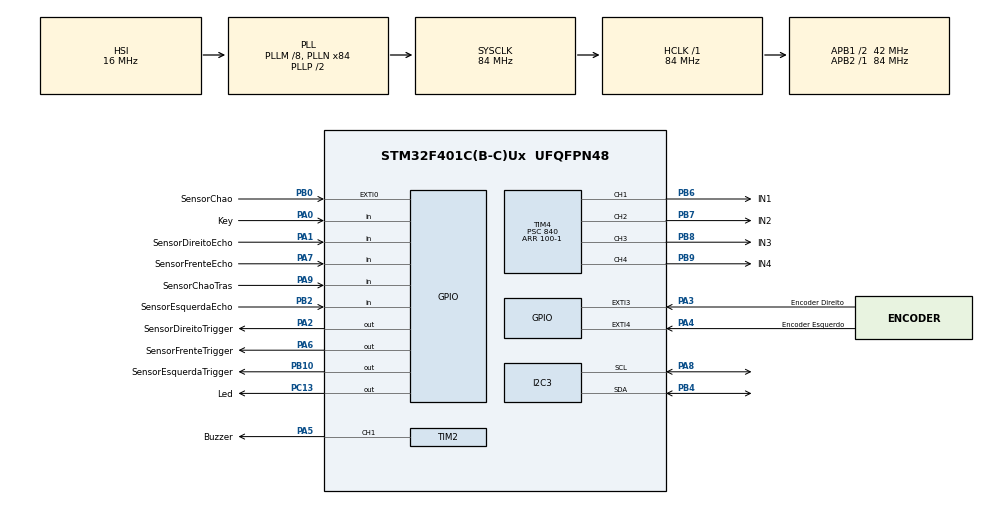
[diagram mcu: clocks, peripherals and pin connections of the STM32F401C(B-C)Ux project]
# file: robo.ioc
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FREERTOS.Tasks01=defaultTask,24,128,StartDefaultTask,Default,NULL,Dynamic,NULL,NULL;RightMotor,24,128,StartRightMotor,Default,NULL,Dynamic,NULL,NULL;LeftMotor,24,128,StartLeftMotor,Default,NULL,Dynamic,NULL,NULL;StateMachine,24,128,StartStateMachine,Default,NULL,Dynamic,NULL,NULL
FREERTOS.configTICK_RATE_HZ=1000
FREERTOS.configUSE_NEWLIB_REENTRANT=1
Mcu.Family=STM32F4
Mcu.Name=STM32F401C(B-C)Ux
Mcu.Package=UFQFPN48
NVIC.EXTI0_IRQn=true\:5\:0\:false\:false\:true\:true\:true\:true\:true
NVIC.EXTI3_IRQn=true\:5\:0\:false\:false\:true\:true\:true\:true\:true
NVIC.EXTI4_IRQn=true\:5\:0\:false\:false\:true\:true\:true\:true\:true
NVIC.PriorityGroup=NVIC_PRIORITYGROUP_4
NVIC.TIM1_UP_TIM10_IRQn=true\:5\:0\:false\:false\:true\:false\:false\:true\:true
NVIC.TimeBase=TIM1_UP_TIM10_IRQn
NVIC.TimeBaseIP=TIM1
PA0-WKUP.GPIO_Label=Key
PA0-WKUP.GPIO_PuPd=GPIO_PULLUP
PA0-WKUP.Signal=GPIO_Input
PA1.GPIO_Label=SensorDireitoEcho
PA1.Signal=GPIO_Input
PA13.Mode=Serial_Wire
PA13.Signal=SYS_JTMS-SWDIO
PA14.Mode=Serial_Wire
PA14.Signal=SYS_JTCK-SWCLK
PA2.GPIO_Label=SensorDireitoTrigger
PA2.Signal=GPIO_Output
PA3.GPIO_Label=Encoder Direito
PA3.Signal=GPXTI3
PA4.GPIO_Label=Encoder Esquerdo
PA4.Signal=GPXTI4
PA5.GPIO_Label=Buzzer
PA5.Signal=S_TIM2_CH1_ETR
PA6.GPIO_Label=SensorFrenteTrigger
PA6.Signal=GPIO_Output
PA7.GPIO_Label=SensorFrenteEcho
PA7.Signal=GPIO_Input
PA8.Mode=I2C
PA8.Signal=I2C3_SCL
PA9.GPIO_Label=SensorChaoTras
PA9.Signal=GPIO_Input
PB0.GPIO_Label=SensorChao
PB0.GPIO_ModeDefaultEXTI=GPIO_MODE_IT_FALLING
PB0.Signal=GPXTI0
PB10.GPIO_Label=SensorEsquerdaTrigger
PB10.Signal=GPIO_Output
PB2.GPIO_Label=SensorEsquerdaEcho
PB2.Signal=GPIO_Input
PB4.Mode=I2C
PB4.Signal=I2C3_SDA
PB6.GPIO_Label=IN1
PB6.Signal=S_TIM4_CH1
PB7.GPIO_Label=IN2
PB7.Signal=S_TIM4_CH2
PB8.GPIO_Label=IN3
PB8.Signal=S_TIM4_CH3
PB9.GPIO_Label=IN4
PB9.Signal=S_TIM4_CH4
PC13-ANTI_TAMP.GPIO_Label=Led
PC13-ANTI_TAMP.Signal=GPIO_Output
ProjectManager.HeapSize=0x200
ProjectManager.StackSize=0x400
ProjectManager.TargetToolchain=STM32CubeIDE
RCC.48MHZClocksFreq_Value=42000000
RCC.AHBFreq_Value=84000000
RCC.APB1CLKDivider=RCC_HCLK_DIV2
RCC.APB1Freq_Value=42000000
RCC.APB1TimFreq_Value=84000000
RCC.APB2Freq_Value=84000000
RCC.APB2TimFreq_Value=84000000
RCC.CortexFreq_Value=84000000
RCC.HCLKFreq_Value=84000000
RCC.HSE_VALUE=25000000
RCC.HSI_VALUE=16000000
RCC.LSE_VALUE=32768
RCC.PLLM=8
RCC.PLLN=84
RCC.SYSCLKFreq_VALUE=84000000
RCC.SYSCLKSource=RCC_SYSCLKSOURCE_PLLCLK
RCC.VCOOutputFreq_Value=168000000
SH.S_TIM2_CH1_ETR.0=TIM2_CH1,PWM Generation1 CH1
SH.S_TIM4_CH1.0=TIM4_CH1,PWM Generation1 CH1
SH.S_TIM4_CH2.0=TIM4_CH2,PWM Generation2 CH2
SH.S_TIM4_CH3.0=TIM4_CH3,PWM Generation3 CH3
SH.S_TIM4_CH4.0=TIM4_CH4,PWM Generation4 CH4
TIM2.AutoReloadPreload=TIM_AUTORELOAD_PRELOAD_ENABLE
TIM2.Channel-PWM\ Generation1\ CH1=TIM_CHANNEL_1
TIM2.ClockDivision=TIM_CLOCKDIVISION_DIV1
TIM2.Period=10
TIM2.Prescaler=8400
TIM2.Pulse-PWM\ Generation1\ CH1=5
TIM3.AutoReloadPreload=TIM_AUTORELOAD_PRELOAD_ENABLE
TIM3.Period=65535
TIM3.Prescaler=84-1
TIM4.AutoReloadPreload=TIM_AUTORELOAD_PRELOAD_ENABLE
TIM4.Channel-PWM\ Generation1\ CH1=TIM_CHANNEL_1
TIM4.Channel-PWM\ Generation2\ CH2=TIM_CHANNEL_2
TIM4.Channel-PWM\ Generation3\ CH3=TIM_CHANNEL_3
TIM4.Channel-PWM\ Generation4\ CH4=TIM_CHANNEL_4
TIM4.Period=100-1
TIM4.Prescaler=840
TIM4.Pulse-PWM\ Generation1\ CH1=50-1
TIM4.Pulse-PWM\ Generation2\ CH2=50-1
TIM4.Pulse-PWM\ Generation3\ CH3=50-1
TIM4.Pulse-PWM\ Generation4\ CH4=50-1
VP_FREERTOS_VS_CMSIS_V2.Mode=CMSIS_V2
VP_SYS_VS_tim1.Mode=TIM1
VP_TIM3_VS_ClockSourceINT.Mode=Internal
board=custom

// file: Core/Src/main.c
/* USER CODE BEGIN Header */
/**
 ******************************************************************************
 * @file           : main.c
 * @brief          : Main program body
 ******************************************************************************
 * @attention
 *
 * Copyright (c) 2023 STMicroelectronics.
 * All rights reserved.
 *
 * This software is licensed under terms that can be found in the LICENSE file
 * in the root directory of this software component.
 * If no LICENSE file comes with this software, it is provided AS-IS.
 *
 ******************************************************************************
 */
/* USER CODE END Header */
#include "main.h"
#include "cmsis_os.h"

/* USER CODE BEGIN Includes */

#include <stdbool.h>
#include <stdio.h>
#include "ssd1306.h"
#include <string.h>
/* USER CODE END Includes */

/* USER CODE BEGIN PTD */

typedef enum{

	norte,
	sul,
	leste,
	oeste

} direcoes;

typedef enum{

	AguardaBotao,
	Frente,
	LeSensor,
	ViraDireita,
	ViraEsquerda,
	Achou

} BarataTonta;

typedef enum{

	// falta implementar
	WaitingButton,
	Forward,
	Turn,

} BlindSearch;

typedef struct{

	direcoes Sentido_Atual;
	uint8_t Posicao_Atual[2];
	int Sensor_Frente;
	int Sensor_Esquerda;
	int Sensor_Direita;
	bool Sensor_Chao;

} robo;

/* USER CODE END PTD */

/* USER CODE BEGIN PD */

# define DO 528
# define RE 592
# define MI 665
# define FA 704
# define SOL 790
# define LA 888
# define SI 996

/* USER CODE END PD */

I2C_HandleTypeDef hi2c3;

TIM_HandleTypeDef htim2;
TIM_HandleTypeDef htim3;
TIM_HandleTypeDef htim4;

/* Definitions for defaultTask */
osThreadId_t defaultTaskHandle;
const osThreadAttr_t defaultTask_attributes = {
		.name = "defaultTask",
		.stack_size = 128 * 4,
		.priority = (osPriority_t) osPriorityNormal,
};
/* Definitions for RightMotor */
osThreadId_t RightMotorHandle;
const osThreadAttr_t RightMotor_attributes = {
		.name = "RightMotor",
		.stack_size = 128 * 4,
		.priority = (osPriority_t) osPriorityNormal,
};
/* Definitions for LeftMotor */
osThreadId_t LeftMotorHandle;
const osThreadAttr_t LeftMotor_attributes = {
		.name = "LeftMotor",
		.stack_size = 128 * 4,
		.priority = (osPriority_t) osPriorityNormal,
};
/* Definitions for StateMachine */
osThreadId_t StateMachineHandle;
const osThreadAttr_t StateMachine_attributes = {
		.name = "StateMachine",
		.stack_size = 128 * 4,
		.priority = (osPriority_t) osPriorityNormal,
};
/* USER CODE BEGIN PV */

int VariacaoSensor = 10;
uint16_t MediaSensorD[10];
uint16_t MediaSensorE[10];
uint16_t MediaSensorF[10];

// encoders
int LeftEncoderCount=0;
int RightEncoderCount =0;

long LeftEncoderCountTotal = 0;
long RightEncoderCountTotal = 0;
float k;
float y;

// flags movimentos
bool Flag_RightMotor_Mov_Forward=false;
bool Flag_LeftMotor_Mov_Forward=false;
uint8_t Count_Mov_Forward = 35;

bool Flag_RightMotor_Mov_Backward=false;
bool Flag_LeftMotor_Mov_Backward=false;
uint8_t Count_Mov_Backward = 35;

bool Flag_LeftMotor_Mov_RotateRight=false;
bool Flag_RightMotor_Mov_RotateRight=false;
uint8_t Count_Mov_RotateRight = 52;

bool Flag_LeftMotor_Mov_RotateLeft=false;
bool Flag_RightMotor_Mov_RotateLeft=false;
uint8_t Count_Mov_RotateLeft = 52;

// demais flags
bool Baratinha=true;
bool Flag_EncoderOrDistance = true;
bool achou = false;

// PWM motores
uint8_t MaxPWM_Right = 35;
uint8_t MaxPWM_Left = 32;

//Distancia para tomada de ação
uint16_t MaxDistanciaLeituraSensorSonico = 250; // centimentros
uint16_t DistanciaMinima = 15;

//Sensor anterior
int SensorFrenteAnterior = 0;
int SensorEsquerdaAnterior = 0;
int SensorDireitaAnterior = 0;

// structs e enums
robo Walle = { .Sentido_Atual = norte, .Posicao_Atual = {0,0} };
BarataTonta Barata = AguardaBotao;
BlindSearch BS = WaitingButton;

//timeouts
uint16_t Timeout=1000;
uint16_t ContadorRotateRigt=5;
//uint16_t TimeOutMotorDireito=10000;

//contagem
int ContagemRegressiva = 5;
int ContagemRotate = 0;
bool FlagInicial = true;

/* USER CODE END PV */

void SystemClock_Config(void);
static void MX_GPIO_Init(void);
static void MX_TIM4_Init(void);
static void MX_TIM2_Init(void);
static void MX_TIM3_Init(void);
static void MX_I2C3_Init(void);
void StartDefaultTask(void *argument);
void StartRightMotor(void *argument);
void StartLeftMotor(void *argument);
void StartStateMachine(void *argument);

/* USER CODE BEGIN PFP */

uint16_t Read_Ultrasonic(GPIO_TypeDef* TriggerPort, uint16_t TriggerPin, GPIO_TypeDef* EchoPort, uint16_t EchoPin);

/* USER CODE END PFP */

int main(void)
{

	/* MCU Configuration--------------------------------------------------------*/

	/* Reset of all peripherals, Initializes the Flash interface and the Systick. */
	HAL_Init();

	/* Configure the system clock */
	SystemClock_Config();

	/* Initialize all configured peripherals */
	MX_GPIO_Init();
	MX_TIM4_Init();
	MX_TIM2_Init();
	MX_TIM3_Init();
	MX_I2C3_Init();
	/* USER CODE BEGIN 2 */

	//inicializacao do display
	ssd1306_Init();
	ssd1306_Fill(White);
	ssd1306_UpdateScreen();

	//inicializacao dos sensores
	HAL_TIM_Base_Start(&htim3);
	HAL_GPIO_WritePin(SensorFrenteTrigger_GPIO_Port, SensorFrenteTrigger_Pin , GPIO_PIN_RESET);  // pull the TRIG pin low
	HAL_GPIO_WritePin(SensorEsquerdaTrigger_GPIO_Port, SensorEsquerdaTrigger_Pin , GPIO_PIN_RESET);  // pull the TRIG pin low
	HAL_GPIO_WritePin(SensorDireitoTrigger_GPIO_Port, SensorDireitoTrigger_Pin , GPIO_PIN_RESET);  // pull the TRIG pin low

	/* USER CODE END 2 */

	/* Init scheduler */
	osKernelInitialize();

	/* Create the thread(s) */
	/* creation of defaultTask */
	defaultTaskHandle = osThreadNew(StartDefaultTask, NULL, &defaultTask_attributes);

	/* creation of RightMotor */
	RightMotorHandle = osThreadNew(StartRightMotor, NULL, &RightMotor_attributes);

	/* creation of LeftMotor */
	LeftMotorHandle = osThreadNew(StartLeftMotor, NULL, &LeftMotor_attributes);

	/* creation of StateMachine */
	StateMachineHandle = osThreadNew(StartStateMachine, NULL, &StateMachine_attributes);

	/* Start scheduler */
	osKernelStart();

	/* We should never get here as control is now taken by the scheduler */
	/* Infinite loop */
	/* USER CODE BEGIN WHILE */
	Walle.Sensor_Frente = 0;
	Walle.Sensor_Direita = 0;
	Walle.Sensor_Esquerda = 0;
	while (1)
	{
		/* USER CODE END WHILE */

	}
}

void SystemClock_Config(void)
{
	RCC_OscInitTypeDef RCC_OscInitStruct = {0};
	RCC_ClkInitTypeDef RCC_ClkInitStruct = {0};

	/** Configure the main internal regulator output voltage
	 */
	__HAL_RCC_PWR_CLK_ENABLE();
	__HAL_PWR_VOLTAGESCALING_CONFIG(PWR_REGULATOR_VOLTAGE_SCALE2);

	/** Initializes the RCC Oscillators according to the specified parameters
	 * in the RCC_OscInitTypeDef structure.
	 */
	RCC_OscInitStruct.OscillatorType = RCC_OSCILLATORTYPE_HSI;
	RCC_OscInitStruct.HSIState = RCC_HSI_ON;
	RCC_OscInitStruct.HSICalibrationValue = RCC_HSICALIBRATION_DEFAULT;
	RCC_OscInitStruct.PLL.PLLState = RCC_PLL_ON;
	RCC_OscInitStruct.PLL.PLLSource = RCC_PLLSOURCE_HSI;
	RCC_OscInitStruct.PLL.PLLM = 8;
	RCC_OscInitStruct.PLL.PLLN = 84;
	RCC_OscInitStruct.PLL.PLLP = RCC_PLLP_DIV2;
	RCC_OscInitStruct.PLL.PLLQ = 4;
	if (HAL_RCC_OscConfig(&RCC_OscInitStruct) != HAL_OK)
	{
		Error_Handler();
	}

	/** Initializes the CPU, AHB and APB buses clocks
	 */
	RCC_ClkInitStruct.ClockType = RCC_CLOCKTYPE_HCLK|RCC_CLOCKTYPE_SYSCLK
			|RCC_CLOCKTYPE_PCLK1|RCC_CLOCKTYPE_PCLK2;
	RCC_ClkInitStruct.SYSCLKSource = RCC_SYSCLKSOURCE_PLLCLK;
	RCC_ClkInitStruct.AHBCLKDivider = RCC_SYSCLK_DIV1;
	RCC_ClkInitStruct.APB1CLKDivider = RCC_HCLK_DIV2;
	RCC_ClkInitStruct.APB2CLKDivider = RCC_HCLK_DIV1;

	if (HAL_RCC_ClockConfig(&RCC_ClkInitStruct, FLASH_LATENCY_2) != HAL_OK)
	{
		Error_Handler();
	}
}

static void MX_I2C3_Init(void)
{

	hi2c3.Instance = I2C3;
	hi2c3.Init.ClockSpeed = 100000;
	hi2c3.Init.DutyCycle = I2C_DUTYCYCLE_2;
	hi2c3.Init.OwnAddress1 = 0;
	hi2c3.Init.AddressingMode = I2C_ADDRESSINGMODE_7BIT;
	hi2c3.Init.DualAddressMode = I2C_DUALADDRESS_DISABLE;
	hi2c3.Init.OwnAddress2 = 0;
	hi2c3.Init.GeneralCallMode = I2C_GENERALCALL_DISABLE;
	hi2c3.Init.NoStretchMode = I2C_NOSTRETCH_DISABLE;
	if (HAL_I2C_Init(&hi2c3) != HAL_OK)
	{
		Error_Handler();
	}

}

static void MX_TIM2_Init(void)
{

	TIM_MasterConfigTypeDef sMasterConfig = {0};
	TIM_OC_InitTypeDef sConfigOC = {0};

	htim2.Instance = TIM2;
	htim2.Init.Prescaler = 8400;
	htim2.Init.CounterMode = TIM_COUNTERMODE_UP;
	htim2.Init.Period = 10;
	htim2.Init.ClockDivision = TIM_CLOCKDIVISION_DIV1;
	htim2.Init.AutoReloadPreload = TIM_AUTORELOAD_PRELOAD_ENABLE;
	if (HAL_TIM_PWM_Init(&htim2) != HAL_OK)
	{
		Error_Handler();
	}
	sMasterConfig.MasterOutputTrigger = TIM_TRGO_RESET;
	sMasterConfig.MasterSlaveMode = TIM_MASTERSLAVEMODE_DISABLE;
	if (HAL_TIMEx_MasterConfigSynchronization(&htim2, &sMasterConfig) != HAL_OK)
	{
		Error_Handler();
	}
	sConfigOC.OCMode = TIM_OCMODE_PWM1;
	sConfigOC.Pulse = 5;
	sConfigOC.OCPolarity = TIM_OCPOLARITY_HIGH;
	sConfigOC.OCFastMode = TIM_OCFAST_DISABLE;
	if (HAL_TIM_PWM_ConfigChannel(&htim2, &sConfigOC, TIM_CHANNEL_1) != HAL_OK)
	{
		Error_Handler();
	}
	HAL_TIM_MspPostInit(&htim2);

}

static void MX_TIM3_Init(void)
{

	TIM_ClockConfigTypeDef sClockSourceConfig = {0};
	TIM_MasterConfigTypeDef sMasterConfig = {0};

	htim3.Instance = TIM3;
	htim3.Init.Prescaler = 84-1;
	htim3.Init.CounterMode = TIM_COUNTERMODE_UP;
	htim3.Init.Period = 65535;
	htim3.Init.ClockDivision = TIM_CLOCKDIVISION_DIV1;
	htim3.Init.AutoReloadPreload = TIM_AUTORELOAD_PRELOAD_ENABLE;
	if (HAL_TIM_Base_Init(&htim3) != HAL_OK)
	{
		Error_Handler();
	}
	sClockSourceConfig.ClockSource = TIM_CLOCKSOURCE_INTERNAL;
	if (HAL_TIM_ConfigClockSource(&htim3, &sClockSourceConfig) != HAL_OK)
	{
		Error_Handler();
	}
	sMasterConfig.MasterOutputTrigger = TIM_TRGO_RESET;
	sMasterConfig.MasterSlaveMode = TIM_MASTERSLAVEMODE_DISABLE;
	if (HAL_TIMEx_MasterConfigSynchronization(&htim3, &sMasterConfig) != HAL_OK)
	{
		Error_Handler();
	}

}

static void MX_TIM4_Init(void)
{

	TIM_MasterConfigTypeDef sMasterConfig = {0};
	TIM_OC_InitTypeDef sConfigOC = {0};

	htim4.Instance = TIM4;
	htim4.Init.Prescaler = 840;
	htim4.Init.CounterMode = TIM_COUNTERMODE_UP;
	htim4.Init.Period = 100-1;
	htim4.Init.ClockDivision = TIM_CLOCKDIVISION_DIV1;
	htim4.Init.AutoReloadPreload = TIM_AUTORELOAD_PRELOAD_ENABLE;
	if (HAL_TIM_PWM_Init(&htim4) != HAL_OK)
	{
		Error_Handler();
	}
	sMasterConfig.MasterOutputTrigger = TIM_TRGO_RESET;
	sMasterConfig.MasterSlaveMode = TIM_MASTERSLAVEMODE_DISABLE;
	if (HAL_TIMEx_MasterConfigSynchronization(&htim4, &sMasterConfig) != HAL_OK)
	{
		Error_Handler();
	}
	sConfigOC.OCMode = TIM_OCMODE_PWM1;
	sConfigOC.Pulse = 50-1;
	sConfigOC.OCPolarity = TIM_OCPOLARITY_HIGH;
	sConfigOC.OCFastMode = TIM_OCFAST_DISABLE;
	if (HAL_TIM_PWM_ConfigChannel(&htim4, &sConfigOC, TIM_CHANNEL_1) != HAL_OK)
	{
		Error_Handler();
	}
	if (HAL_TIM_PWM_ConfigChannel(&htim4, &sConfigOC, TIM_CHANNEL_2) != HAL_OK)
	{
		Error_Handler();
	}
	if (HAL_TIM_PWM_ConfigChannel(&htim4, &sConfigOC, TIM_CHANNEL_3) != HAL_OK)
	{
		Error_Handler();
	}
	if (HAL_TIM_PWM_ConfigChannel(&htim4, &sConfigOC, TIM_CHANNEL_4) != HAL_OK)
	{
		Error_Handler();
	}
	HAL_TIM_MspPostInit(&htim4);

}

static void MX_GPIO_Init(void)
{
	GPIO_InitTypeDef GPIO_InitStruct = {0};

	/* GPIO Ports Clock Enable */
	__HAL_RCC_GPIOC_CLK_ENABLE();
	__HAL_RCC_GPIOA_CLK_ENABLE();
	__HAL_RCC_GPIOB_CLK_ENABLE();

	/*Configure GPIO pin Output Level */
	HAL_GPIO_WritePin(Led_GPIO_Port, Led_Pin, GPIO_PIN_RESET);

	/*Configure GPIO pin Output Level */
	HAL_GPIO_WritePin(GPIOA, SensorDireitoTrigger_Pin|SensorFrenteTrigger_Pin, GPIO_PIN_RESET);

	/*Configure GPIO pin Output Level */
	HAL_GPIO_WritePin(SensorEsquerdaTrigger_GPIO_Port, SensorEsquerdaTrigger_Pin, GPIO_PIN_RESET);

	/*Configure GPIO pin : Led_Pin */
	GPIO_InitStruct.Pin = Led_Pin;
	GPIO_InitStruct.Mode = GPIO_MODE_OUTPUT_PP;
	GPIO_InitStruct.Pull = GPIO_NOPULL;
	GPIO_InitStruct.Speed = GPIO_SPEED_FREQ_LOW;
	HAL_GPIO_Init(Led_GPIO_Port, &GPIO_InitStruct);

	/*Configure GPIO pin : Key_Pin */
	GPIO_InitStruct.Pin = Key_Pin;
	GPIO_InitStruct.Mode = GPIO_MODE_INPUT;
	GPIO_InitStruct.Pull = GPIO_PULLUP;
	HAL_GPIO_Init(Key_GPIO_Port, &GPIO_InitStruct);

	/*Configure GPIO pins : SensorDireitoEcho_Pin SensorFrenteEcho_Pin SensorChaoTras_Pin */
	GPIO_InitStruct.Pin = SensorDireitoEcho_Pin|SensorFrenteEcho_Pin|SensorChaoTras_Pin;
	GPIO_InitStruct.Mode = GPIO_MODE_INPUT;
	GPIO_InitStruct.Pull = GPIO_NOPULL;
	HAL_GPIO_Init(GPIOA, &GPIO_InitStruct);

	/*Configure GPIO pins : SensorDireitoTrigger_Pin SensorFrenteTrigger_Pin */
	GPIO_InitStruct.Pin = SensorDireitoTrigger_Pin|SensorFrenteTrigger_Pin;
	GPIO_InitStruct.Mode = GPIO_MODE_OUTPUT_PP;
	GPIO_InitStruct.Pull = GPIO_NOPULL;
	GPIO_InitStruct.Speed = GPIO_SPEED_FREQ_LOW;
	HAL_GPIO_Init(GPIOA, &GPIO_InitStruct);

	/*Configure GPIO pins : Encoder_Direito_Pin Encoder_Esquerdo_Pin */
	GPIO_InitStruct.Pin = Encoder_Direito_Pin|Encoder_Esquerdo_Pin;
	GPIO_InitStruct.Mode = GPIO_MODE_IT_RISING;
	GPIO_InitStruct.Pull = GPIO_NOPULL;
	HAL_GPIO_Init(GPIOA, &GPIO_InitStruct);

	/*Configure GPIO pin : SensorChao_Pin */
	GPIO_InitStruct.Pin = SensorChao_Pin;
	GPIO_InitStruct.Mode = GPIO_MODE_IT_FALLING;
	GPIO_InitStruct.Pull = GPIO_NOPULL;
	HAL_GPIO_Init(SensorChao_GPIO_Port, &GPIO_InitStruct);

	/*Configure GPIO pin : SensorEsquerdaEcho_Pin */
	GPIO_InitStruct.Pin = SensorEsquerdaEcho_Pin;
	GPIO_InitStruct.Mode = GPIO_MODE_INPUT;
	GPIO_InitStruct.Pull = GPIO_NOPULL;
	HAL_GPIO_Init(SensorEsquerdaEcho_GPIO_Port, &GPIO_InitStruct);

	/*Configure GPIO pin : SensorEsquerdaTrigger_Pin */
	GPIO_InitStruct.Pin = SensorEsquerdaTrigger_Pin;
	GPIO_InitStruct.Mode = GPIO_MODE_OUTPUT_PP;
	GPIO_InitStruct.Pull = GPIO_NOPULL;
	GPIO_InitStruct.Speed = GPIO_SPEED_FREQ_LOW;
	HAL_GPIO_Init(SensorEsquerdaTrigger_GPIO_Port, &GPIO_InitStruct);

	/* EXTI interrupt init*/
	HAL_NVIC_SetPriority(EXTI0_IRQn, 5, 0);
	HAL_NVIC_EnableIRQ(EXTI0_IRQn);

	HAL_NVIC_SetPriority(EXTI3_IRQn, 5, 0);
	HAL_NVIC_EnableIRQ(EXTI3_IRQn);

	HAL_NVIC_SetPriority(EXTI4_IRQn, 5, 0);
	HAL_NVIC_EnableIRQ(EXTI4_IRQn);

}

/* USER CODE BEGIN 4 */

// buzzer
void PlayBuzzer(int Freq, int duration){
	/*
	 * 1 contagem no ARR = 10000Hz. 10 contagens = 1000Hz. 100 contagens = 100 Hz....
	 * CCR1 = ARR/2 para ter onda quadrada
	 */
	TIM2->ARR = 10000/Freq;
	TIM2->CCR1 = 5000/Freq;
	HAL_TIM_PWM_Start(&htim2, TIM_CHANNEL_1);

	if(Freq >5000)
		return;

	TIM2->ARR = 10000/Freq;
	TIM2->CCR1 = 5000/Freq;

	osDelay(duration);

	HAL_TIM_PWM_Stop(&htim2, TIM_CHANNEL_1);

}

void Printa1segTela(){
	char text[20] = {};
	ssd1306_SetCursor(56,25);
	sprintf(text,"%d",ContagemRegressiva--);

	if(FlagInicial){
		ssd1306_Fill(White);
		ssd1306_WriteString(text, Font_16x26, Black);
		FlagInicial = false;
	}
	else{
		ssd1306_Fill(Black);
		ssd1306_WriteString(text, Font_16x26, White);
		FlagInicial = true;
	}

	ssd1306_UpdateScreen();

}

void Buzzer5seg(){
	Printa1segTela();
	PlayBuzzer(500, 500);
	osDelay(500);
	Printa1segTela();
	PlayBuzzer(500, 500);
	osDelay(500);
	Printa1segTela();
	PlayBuzzer(500, 500);
	osDelay(500);
	Printa1segTela();
	PlayBuzzer(500, 500);
	osDelay(500);
	Printa1segTela();
	PlayBuzzer(500, 500);
	osDelay(500);
}

void BuzzerTocaMusica(){
	PlayBuzzer(MI, 200);
	osDelay(25);
	PlayBuzzer(MI, 200);
	osDelay(25);
	PlayBuzzer(RE, 1000);
	osDelay(200);
	PlayBuzzer(RE, 200);
	osDelay(25);
	PlayBuzzer(RE, 200);
	osDelay(25);
	PlayBuzzer(DO, 1000);
	osDelay(200);
}
void Buzzer_InitialSong()
{
	Buzzer1seg();
	Buzzer1seg();
	Buzzer1seg();
	Buzzer1seg();
	Buzzer1seg();
}

void Buzzer_FinishSong()
{
	PlayBuzzer(200, 100);
	osDelay(10);
	PlayBuzzer(500, 100);
	osDelay(10);
	PlayBuzzer(1000, 150);
	osDelay(500);
	PlayBuzzer(1000, 1000);
}

// display

void Print_Ajustando(){
	char text[20] = {};

	ssd1306_Fill(Black);

	ssd1306_SetCursor(0,0);
	strcpy(text,"Modo 'Achou'");
	ssd1306_WriteString(text, Font_7x10, White);

	ssd1306_SetCursor(0,20);
	strcpy(text,"Ajustando...");
	ssd1306_WriteString(text, Font_11x18, White);

	ssd1306_UpdateScreen();
}

void Print_Achou(){

	char text[20] = {};
	ssd1306_Fill(Black);

	ssd1306_SetCursor(0,15);
	strcpy(text,"Achou");
	ssd1306_WriteString(text, Font_11x18, White);

	ssd1306_SetCursor(0,30);
	strcpy(text," o ");
	ssd1306_WriteString(text, Font_11x18, White);

	ssd1306_SetCursor(0,45);
	strcpy(text,"objetivo!");
	ssd1306_WriteString(text, Font_11x18, White);

	ssd1306_UpdateScreen();
}

void Print_Direcao(){
	char text[20] = {};

	ssd1306_Fill(Black);

	if(Walle.Sensor_Frente<SensorFrenteAnterior && (SensorFrenteAnterior-Walle.Sensor_Frente)>VariacaoSensor){
		ssd1306_SetCursor(0,0);
		strcpy(text,"Frente");
		ssd1306_WriteString(text, Font_7x10, White);
	}
	/*else{
		ssd1306_SetCursor(0,0);
		sprintf(text,"nao Frente %d",SensorFrenteAnterior);
		ssd1306_WriteString(text, Font_7x10, White);
	}*/

	if(Walle.Sensor_Frente>SensorFrenteAnterior && (Walle.Sensor_Frente-SensorFrenteAnterior)>VariacaoSensor ){
		ssd1306_SetCursor(0,15);
		strcpy(text,"Tras");
		ssd1306_WriteString(text, Font_7x10, White);
	}
	/*else {
		ssd1306_SetCursor(0,15);
		sprintf(text,"nao Frente %d",Walle.Sensor_Frente);
		ssd1306_WriteString(text, Font_7x10, White);
	}*/

	if(Walle.Sensor_Esquerda > SensorEsquerdaAnterior && (Walle.Sensor_Esquerda - SensorEsquerdaAnterior)>VariacaoSensor){
		ssd1306_SetCursor(0,30);
		strcpy(text,"Esquerda");
		ssd1306_WriteString(text, Font_7x10, White);
	}
	/*else {
		ssd1306_SetCursor(0,30);
		strcpy(text,"nao Esquerda");
		ssd1306_WriteString(text, Font_7x10, White);
	}*/

	if(Walle.Sensor_Direita > SensorDireitaAnterior && (Walle.Sensor_Direita - SensorDireitaAnterior)>VariacaoSensor){
		ssd1306_SetCursor(0,45);
		strcpy(text,"Direita");
		ssd1306_WriteString(text, Font_7x10, White);
	}
	/*else{
		ssd1306_SetCursor(0,45);
		strcpy(text,"nao Direita");
		ssd1306_WriteString(text, Font_7x10, White);
	}*/

	ssd1306_UpdateScreen();
}

void Print_Espera(){
	char text[20] = {};

	ssd1306_Fill(Black);

	ssd1306_SetCursor(0,0);
	strcpy(text,"Modo de Espera");
	ssd1306_WriteString(text, Font_7x10, White);

	ssd1306_SetCursor(0,15);
	strcpy(text,"Clique no botao");
	ssd1306_WriteString(text, Font_7x10, White);

	ssd1306_SetCursor(0,30);
	strcpy(text,"'Key' --->");
	ssd1306_WriteString(text, Font_7x10, White);

	ssd1306_SetCursor(0,45);
	strcpy(text,"Para comecar");
	ssd1306_WriteString(text, Font_7x10, White);

	ssd1306_UpdateScreen();
}

void Print_Distance(){

	char text[20] = {};

	ssd1306_Fill(Black);

	ssd1306_SetCursor(0,0);
	strcpy(text,"Modo Competicao");
	ssd1306_WriteString(text, Font_6x8, White);

	ssd1306_SetCursor(0, 10);
	sprintf(text,"esq: %d", Walle.Sensor_Esquerda);
	ssd1306_WriteString(text, Font_11x18, White);

	ssd1306_SetCursor(0, 25);
	sprintf(text,"Dir: %d", Walle.Sensor_Direita);
	ssd1306_WriteString(text, Font_11x18, White);

	ssd1306_SetCursor(0, 40);
	sprintf(text,"Frt: %d", Walle.Sensor_Frente);
	ssd1306_WriteString(text, Font_11x18, White);

	ssd1306_UpdateScreen();

}

void Print_Encoders(){
	char text[20] = {};

	ssd1306_Fill(Black);
	k = LeftEncoderCountTotal;
	y = RightEncoderCountTotal;

	if(y == 0){
		k=k/1;
	}
	else{
		k=k/y;
	}
	/*ssd1306_SetCursor(0, 0);
	sprintf(text,"K: %.3f",k);
	ssd1306_WriteString(text, Font_11x18, White);*/

	ssd1306_SetCursor(0, 0);
	sprintf(text,"Esq: %d", LeftEncoderCount);
	ssd1306_WriteString(text, Font_11x18, White);

	ssd1306_SetCursor(0, 15);
	sprintf(text,"Dir: %d", RightEncoderCount);
	ssd1306_WriteString(text, Font_11x18, White);

	ssd1306_SetCursor(0, 30);
	sprintf(text,"Esq T: %ld", LeftEncoderCountTotal);
	ssd1306_WriteString(text, Font_11x18, White);

	ssd1306_SetCursor(0, 45);
	sprintf(text,"Dir T: %ld", RightEncoderCountTotal);
	ssd1306_WriteString(text, Font_11x18, White);

	ssd1306_UpdateScreen();

}

// sensores
void LerSensores(){
	SensorDireitaAnterior = Walle.Sensor_Direita ;
	SensorEsquerdaAnterior = Walle.Sensor_Esquerda;
	SensorFrenteAnterior = Walle.Sensor_Frente;
	/*do{
	Walle.Sensor_Direita = Read_Ultrasonic(SensorDireitoTrigger_GPIO_Port, SensorDireitoTrigger_Pin, SensorDireitoEcho_GPIO_Port, SensorDireitoEcho_Pin);
	Walle.Sensor_Esquerda = Read_Ultrasonic(SensorEsquerdaTrigger_GPIO_Port, SensorEsquerdaTrigger_Pin, SensorEsquerdaEcho_GPIO_Port, SensorEsquerdaEcho_Pin);
	Walle.Sensor_Frente = Read_Ultrasonic(SensorFrenteTrigger_GPIO_Port, SensorFrenteTrigger_Pin, SensorFrenteEcho_GPIO_Port, SensorFrenteEcho_Pin);
	}while(Walle.Sensor_Direita > MaxDistanciaLeituraSensorSonico || Walle.Sensor_Esquerda > MaxDistanciaLeituraSensorSonico || Walle.Sensor_Frente > MaxDistanciaLeituraSensorSonico );
	 */
	for(int i = 0; i<=9;i++){
		MediaSensorD[i] = Read_Ultrasonic(SensorDireitoTrigger_GPIO_Port, SensorDireitoTrigger_Pin, SensorDireitoEcho_GPIO_Port, SensorDireitoEcho_Pin);
		MediaSensorE[i] = Read_Ultrasonic(SensorEsquerdaTrigger_GPIO_Port, SensorEsquerdaTrigger_Pin, SensorEsquerdaEcho_GPIO_Port, SensorEsquerdaEcho_Pin);
		MediaSensorF[i] = Read_Ultrasonic(SensorFrenteTrigger_GPIO_Port, SensorFrenteTrigger_Pin, SensorFrenteEcho_GPIO_Port, SensorFrenteEcho_Pin);
	}

	for(int i = 0; i<=9;i++){
		if(MediaSensorD[i]>MaxDistanciaLeituraSensorSonico && i>0){
			MediaSensorD[i] = MediaSensorD[i-1];
		}
		if(MediaSensorE[i]>MaxDistanciaLeituraSensorSonico && i>0){
			MediaSensorE[i] = MediaSensorE[i-1];
		}
		if(MediaSensorF[i]>MaxDistanciaLeituraSensorSonico && i>0){
			MediaSensorF[i] = MediaSensorF[i-1];
		}
		int SomaD = 0;
		int SomaE = 0;
		int SomaF = 0;
		for(int i = 0; i<=9;i++){
			SomaD+=MediaSensorD[i];
			SomaE+=MediaSensorE[i];
			SomaF+=MediaSensorF[i];
		}

		Walle.Sensor_Direita = SomaD/10;
		Walle.Sensor_Esquerda = SomaE/10;
		Walle.Sensor_Frente = SomaF/10;
	}

	/*SensorDireitaAnterior = Walle.Sensor_Direita;
	SensorEsquerdaAnterior = Walle.Sensor_Esquerda;
	SensorFrenteAnterior = Walle.Sensor_Frente;
	Walle.Sensor_Direita = Read_Ultrasonic(SensorDireitoTrigger_GPIO_Port, SensorDireitoTrigger_Pin, SensorDireitoEcho_GPIO_Port, SensorDireitoEcho_Pin);
	Walle.Sensor_Esquerda = Read_Ultrasonic(SensorEsquerdaTrigger_GPIO_Port, SensorEsquerdaTrigger_Pin, SensorEsquerdaEcho_GPIO_Port, SensorEsquerdaEcho_Pin);
	Walle.Sensor_Frente = Read_Ultrasonic(SensorFrenteTrigger_GPIO_Port, SensorFrenteTrigger_Pin, SensorFrenteEcho_GPIO_Port, SensorFrenteEcho_Pin);
	Walle.Sensor_Chao=HAL_GPIO_ReadPin(SensorChao_GPIO_Port, SensorChao_Pin);

	if(Walle.Sensor_Direita > MaxDistanciaLeituraSensorSonico){
		Walle.Sensor_Direita = SensorDireitaAnterior;
	}
	if(Walle.Sensor_Esquerda > MaxDistanciaLeituraSensorSonico){
			Walle.Sensor_Esquerda = SensorEsquerdaAnterior;
		}
	if(Walle.Sensor_Frente > MaxDistanciaLeituraSensorSonico){
			Walle.Sensor_Frente = SensorFrenteAnterior;
		}*/

}

uint16_t Read_Ultrasonic(GPIO_TypeDef* TriggerPort, uint16_t TriggerPin, GPIO_TypeDef* EchoPort, uint16_t EchoPin){

	uint32_t pMillis;
	uint32_t Value1 = 0;
	uint32_t Value2 = 0;
	uint16_t Distance  = 0;  // cm

	HAL_GPIO_WritePin(TriggerPort, TriggerPin, GPIO_PIN_SET);  // pull the TRIG pin HIGH
	__HAL_TIM_SET_COUNTER(&htim3, 0);
	while(__HAL_TIM_GET_COUNTER (&htim3) < 10);  // wait for 10 us
	HAL_GPIO_WritePin(TriggerPort, TriggerPin, GPIO_PIN_RESET);  // pull the TRIG pin low

	pMillis = HAL_GetTick(); // used this to avoid infinite while loop  (for timeout)
	// wait for the echo pin to go high
	while (!(HAL_GPIO_ReadPin (EchoPort, EchoPin)) && pMillis + 10 >  HAL_GetTick());
	Value1 = __HAL_TIM_GET_COUNTER (&htim3);

	pMillis = HAL_GetTick(); // used this to avoid infinite while loop (for timeout)
	// wait for the echo pin to go low
	while ((HAL_GPIO_ReadPin (EchoPort, EchoPin)) && pMillis + 50 > HAL_GetTick());
	Value2 = __HAL_TIM_GET_COUNTER (&htim3);

	Distance = (Value2-Value1)* 0.034/2;

	return Distance;
}

// controle velocidade
void SetDefaultSpeed(){
	TIM4->CCR1 = MaxPWM_Right;
	TIM4->CCR2 = MaxPWM_Right;
	TIM4->CCR3 = MaxPWM_Left;
	TIM4->CCR4 = MaxPWM_Left;
}

void RightMotorSpeed(uint8_t speed){
	//MaxPWM = speed;
	if (speed<=1)
		speed = 1;

	if (speed>100)
		speed=100;

	TIM4->CCR1 = speed-1;
	TIM4->CCR2 = speed-1;
}

void LeftMotorSpeed(uint8_t speed){
	//MaxPWM = speed;
	if (speed<=1)
		speed=1;

	if (speed>100)
		speed=100;

	TIM4->CCR3 = speed-1;
	TIM4->CCR4 = speed-1;
}

// macros roda direita
void RightMotorForward(){

	HAL_TIM_PWM_Start(&htim4,TIM_CHANNEL_2);
	HAL_TIM_PWM_Stop(&htim4,TIM_CHANNEL_1);

}

void RightMotorBackward(){
	HAL_TIM_PWM_Start(&htim4,TIM_CHANNEL_1);
	HAL_TIM_PWM_Stop(&htim4,TIM_CHANNEL_2);
}

void RightMotorStop(){

	HAL_TIM_PWM_Stop(&htim4,TIM_CHANNEL_1);
	HAL_TIM_PWM_Stop(&htim4,TIM_CHANNEL_2);

}

// macros roda direita
void LeftMotorForward(){

	HAL_TIM_PWM_Start(&htim4,TIM_CHANNEL_3);
	HAL_TIM_PWM_Stop(&htim4,TIM_CHANNEL_4);

}

void LeftMotorBackward(){
	HAL_TIM_PWM_Start(&htim4,TIM_CHANNEL_4);
	HAL_TIM_PWM_Stop(&htim4,TIM_CHANNEL_3);
}

void LeftMotorStop(){

	HAL_TIM_PWM_Stop(&htim4,TIM_CHANNEL_3);
	HAL_TIM_PWM_Stop(&htim4,TIM_CHANNEL_4);

}

// movimentos
void Mov_Forward(){
	uint16_t i = 0;
	RightEncoderCount=0;
	LeftEncoderCount=0;

	Flag_RightMotor_Mov_Forward=true;
	Flag_LeftMotor_Mov_Forward=true;

	SetDefaultSpeed();

	RightMotorForward();
	LeftMotorForward();

	while(Flag_RightMotor_Mov_Forward || Flag_LeftMotor_Mov_Forward){
		osDelay(10);
		i++;
		if(i>= Timeout)
			break;
	}

}

void Mov_Backward(){
	uint16_t i = 0;
	RightEncoderCount=0;
	LeftEncoderCount=0;

	Flag_RightMotor_Mov_Backward = true;
	Flag_LeftMotor_Mov_Backward = true;

	SetDefaultSpeed();

	RightMotorBackward();
	LeftMotorBackward();

	while(Flag_LeftMotor_Mov_Backward || Flag_RightMotor_Mov_Backward){
		osDelay(10);
		i++;
		if(i>= Timeout)
			break;
	}
}

void Mov_RotateRight(){
	uint16_t i = 0;
	RightEncoderCount=0;
	LeftEncoderCount=0;

	Flag_LeftMotor_Mov_RotateRight=true;
	SetDefaultSpeed();
	LeftMotorForward();

	while(Flag_LeftMotor_Mov_RotateRight){
		osDelay(10);
		i++;
		if(i>= Timeout)
			break;
	}

}

void Mov_RotateLeft(){
	uint16_t i = 0;
	RightEncoderCount=0;
	LeftEncoderCount=0;

	Flag_RightMotor_Mov_RotateLeft=true;
	SetDefaultSpeed();
	RightMotorForward();

	while(Flag_RightMotor_Mov_RotateLeft){
		osDelay(10);
		i++;
		if(i>= Timeout)
			break;
	}
}

// callback encoder
void HAL_GPIO_EXTI_Callback(uint16_t GPIO_Pin){

	if(GPIO_Pin == GPIO_PIN_4){
		LeftEncoderCount++;
		LeftEncoderCountTotal++;
	}
	if(GPIO_Pin == GPIO_PIN_3){
		RightEncoderCount++;
		RightEncoderCountTotal++;
	}
	if(GPIO_Pin == SensorChao_Pin){
		if(Barata != AguardaBotao)
			Baratinha=false;
	}

}

/* USER CODE END 4 */

void StartDefaultTask(void *argument)
{
	/* USER CODE BEGIN 5 */
	/* Infinite loop */
	for(;;)
	{

		/*
		osDelay(1000);
		TIM2->ARR = 20;
		TIM2->CCR1 = 10;
		osDelay(1000);
		TIM2->ARR = 50;
		TIM2->CCR1 = 25;*/

		/*
		if(!HAL_GPIO_ReadPin(Key_GPIO_Port, Key_Pin)){

			HAL_Delay(500);

			Mov_RotateRight();
			while(Flag_LeftMotor_Mov_RotateRight || Flag_RightMotor_Mov_RotateRight){
				Print_Encoders();
				osDelay(100);
			};
			Print_Encoders();

		}

		 */
		osDelay(10000);
	}
	/* USER CODE END 5 */
}

void StartRightMotor(void *argument)
{
	/* USER CODE BEGIN StartRightMotor */
	/* Infinite loop */
	for(;;)
	{

		if(Flag_RightMotor_Mov_Forward){
			if(RightEncoderCount >=Count_Mov_Forward*0 && RightEncoderCount < Count_Mov_Forward*0.1){
				RightMotorSpeed(MaxPWM_Right*0.8);
			}

			else if(RightEncoderCount >=Count_Mov_Forward*0.1 && RightEncoderCount < Count_Mov_Forward*0.2){
				RightMotorSpeed(MaxPWM_Right*1);
			}

			else if(RightEncoderCount >=Count_Mov_Forward*0.8 && RightEncoderCount < Count_Mov_Forward*0.9){
				RightMotorSpeed(MaxPWM_Right*0.85);
			}

			else if(RightEncoderCount >=Count_Mov_Forward*0.9 && RightEncoderCount < Count_Mov_Forward){
				RightMotorSpeed(MaxPWM_Right*0.7);
			}

			else if(RightEncoderCount >=Count_Mov_Forward){
				RightMotorStop();
				Flag_RightMotor_Mov_Forward=false;
			}
		}

		if(Flag_RightMotor_Mov_RotateLeft){
			/*if(RightEncoderCount >=Count_Mov_Forward*0.8 && RightEncoderCount < Count_Mov_Forward){
				RightMotorSpeed(MaxPWM_Right*0.7);
			}*/
			if(RightEncoderCount >= Count_Mov_RotateRight){
				RightMotorStop();
				Flag_RightMotor_Mov_RotateLeft=false;
			}
		}

		if(Flag_RightMotor_Mov_Backward){
			if(RightEncoderCount>=Count_Mov_Backward){
				RightMotorStop();
				Flag_RightMotor_Mov_Backward = false;
			}
		}

		osDelay(1);
	}
	/* USER CODE END StartRightMotor */
}

void StartLeftMotor(void *argument)
{
	/* USER CODE BEGIN StartLeftMotor */
	/* Infinite loop */
	for(;;)
	{
		if(Flag_LeftMotor_Mov_Forward){

			if(LeftEncoderCount >= Count_Mov_Forward*0 && LeftEncoderCount < Count_Mov_Forward*0.1){
				LeftMotorSpeed(MaxPWM_Left*0.8);
			}

			else if(LeftEncoderCount >= Count_Mov_Forward*0.1 && LeftEncoderCount < Count_Mov_Forward*0.2){
				LeftMotorSpeed(MaxPWM_Left*1);
			}

			else if(LeftEncoderCount >= Count_Mov_Forward*0.8 && LeftEncoderCount < Count_Mov_Forward*0.9){
				LeftMotorSpeed(MaxPWM_Left*0.85);
			}

			else if(LeftEncoderCount >= Count_Mov_Forward*0.9 && LeftEncoderCount < Count_Mov_Forward){
				LeftMotorSpeed(MaxPWM_Left*0.7);
			}

			else if(LeftEncoderCount >= Count_Mov_Forward){
				LeftMotorStop();
				Flag_LeftMotor_Mov_Forward=false;
			}
		}

		if(Flag_LeftMotor_Mov_RotateRight)
		{
			/*if(LeftEncoderCount >= Count_Mov_RotateRight*0.8 && LeftEncoderCount < Count_Mov_RotateRight){
				LeftMotorSpeed(MaxPWM_Left*0.7);
			}*/
			if(LeftEncoderCount >= Count_Mov_RotateRight){
				LeftMotorStop();
				Flag_LeftMotor_Mov_RotateRight=false;
			}
		}

		if(Flag_LeftMotor_Mov_Backward){
			if(LeftEncoderCount >= Count_Mov_Backward){
				LeftMotorStop();
				Flag_LeftMotor_Mov_Backward = false;
			}
		}
		osDelay(1);
	}
	/* USER CODE END StartLeftMotor */
}

void StartStateMachine(void *argument)
{
	/* USER CODE BEGIN StartStateMachine */
	/* Infinite loop */
	Print_Espera();
	for(;;)
	{

		// modo barata tonta
		if(Baratinha){
			switch (Barata) {

			case AguardaBotao:
				if(!HAL_GPIO_ReadPin(Key_GPIO_Port, Key_Pin)){
					Buzzer5seg();
					Barata = LeSensor;
				}

				break;

			case LeSensor:
				LerSensores();
				if(!HAL_GPIO_ReadPin(Key_GPIO_Port, Key_Pin)){

					if(Flag_EncoderOrDistance){
						Flag_EncoderOrDistance = false;}
					else{
						Flag_EncoderOrDistance = true;}
				}
				if(Flag_EncoderOrDistance){
					Print_Distance();
				}
				else{
					Print_Direcao();}

				HAL_GPIO_TogglePin(Led_GPIO_Port, Led_Pin);
				if (Walle.Sensor_Frente < 8 || Walle.Sensor_Direita < 8 || Walle.Sensor_Esquerda < 8){
					Mov_Backward(); //se a contagem de ticks do sistema for par, vira para direita, se não para a esquerda
					if(HAL_GetTick()%2 == 0) Mov_RotateRight();
					else Mov_RotateLeft();
				}
				else if(Walle.Sensor_Frente > DistanciaMinima && Walle.Sensor_Direita > DistanciaMinima && Walle.Sensor_Esquerda > DistanciaMinima){
					Barata = Frente;
				}
				else if(Walle.Sensor_Direita > DistanciaMinima){
					Barata = ViraDireita;
				}
				else if(Walle.Sensor_Esquerda > DistanciaMinima){
					Barata = ViraEsquerda;
				}
				else{

					Mov_Backward(); //se a contagem de ticks do sistema for par, vira para direita, se não para a esquerda
					if(HAL_GetTick()%2 == 0) Mov_RotateRight();
					else Mov_RotateLeft();
				}

				break;

			case Frente:
				Mov_Forward();
				Barata = LeSensor;

				break;

			case ViraDireita:
				Mov_RotateRight();
				Barata = LeSensor;

				break;

			case ViraEsquerda:
				Mov_RotateLeft();
				Barata = LeSensor;

				break;

			default:
				break;
			}
		}

		// Achou
		else{

			if(!achou){
				Print_Ajustando();
				if(HAL_GPIO_ReadPin(SensorChaoTras_GPIO_Port, SensorChaoTras_Pin) && HAL_GPIO_ReadPin(SensorChao_GPIO_Port, SensorChao_Pin) ){
					achou = true;
				}
				else if(HAL_GPIO_ReadPin(SensorChaoTras_GPIO_Port, SensorChaoTras_Pin) && !HAL_GPIO_ReadPin(SensorChao_GPIO_Port, SensorChao_Pin)){
					Mov_Backward();
				}
				else if(!HAL_GPIO_ReadPin(SensorChaoTras_GPIO_Port, SensorChaoTras_Pin) && HAL_GPIO_ReadPin(SensorChao_GPIO_Port, SensorChao_Pin)){
					Mov_RotateRight();
				}
				else if(!HAL_GPIO_ReadPin(SensorChaoTras_GPIO_Port, SensorChaoTras_Pin) && !HAL_GPIO_ReadPin(SensorChao_GPIO_Port, SensorChao_Pin)){
					Mov_RotateRight();
					osDelay(100);
					ContadorRotateRigt--;
					if(ContadorRotateRigt<=0){
						ContadorRotateRigt=5;
						Baratinha=true;
					}
				}

			}
			else{
				Print_Achou();
				BuzzerTocaMusica();
				BuzzerTocaMusica();
				osDelay(1000);
				osDelay(1000);
			}

		}

		osDelay(1);

	}

	/* USER CODE END StartStateMachine */
}

void HAL_TIM_PeriodElapsedCallback(TIM_HandleTypeDef *htim)
{
	if (htim->Instance == TIM1) {
		HAL_IncTick();
	}
}

void Error_Handler(void)
{
	/* USER CODE BEGIN Error_Handler_Debug */
	/* User can add his own implementation to report the HAL error return state */
	__disable_irq();
	while(1){ };
	/* USER CODE END Error_Handler_Debug */
}
